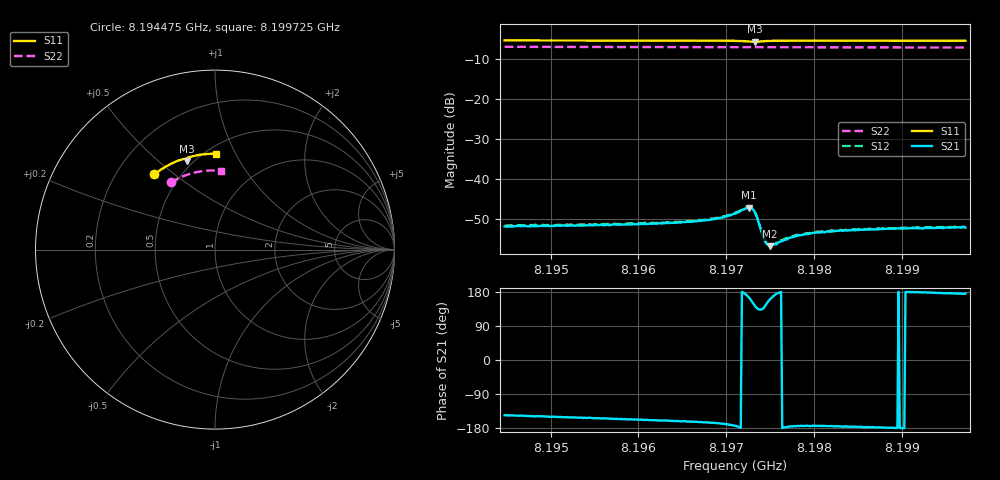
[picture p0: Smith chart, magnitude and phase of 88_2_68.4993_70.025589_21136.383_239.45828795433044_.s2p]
#  HZ  S  RI  R  50.00
! Rohde & Schwarz Vector Network Analyzer
! Rohde-Schwarz,ZNB20-2Port,1311601062101988,3.16
! Created: UTC 3/20/2024, 4:52:32 PM
! freq[Hz]  re:S11  im:S11  re:S21  im:S21  re:S12  im:S12  re:S22  im:S22
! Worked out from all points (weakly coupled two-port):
!   401 points, 8.194475 GHz to 8.199725 GHz, reference 50 ohm
!   highest |S21| = -47.05 dB at 8.197257 GHz (marker M1); lowest = -56.7 dB at 8.197494 GHz (marker M2)
!   lowest |S11| = -5.7 dB at 8.197323 GHz (marker M3), VSWR 3.15, Z = 23.1 + j31.2 ohm
!   |S11| at or under -10 dB: nowhere
!   |S22| runs from -7.1 to -7.0 dB; largest |S21 - S12| = 0.00024
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8.194475e9  -0.3379 0.4192  -0.00213 -0.00146  -0.00223 -0.00143  -0.2463 0.3744
8.1953544e9  -0.2868 0.4549  -0.00235 -0.00123  -0.00247 -0.00117  -0.2034 0.3979
8.1962337e9  -0.2314 0.4844  -0.00264 -0.000992  -0.0027 -0.000947  -0.1579 0.4166
8.1964568e9  -0.2167 0.4909  -0.00273 -0.000916  -0.00284 -0.000876  -0.146 0.4205
8.1967586e9  -0.1958 0.4988  -0.00295 -0.000828  -0.00305 -0.000712  -0.1297 0.4253
8.1969424e9  -0.1822 0.5031  -0.00324 -0.000681  -0.00331 -0.000589  -0.1198 0.4279
8.1970999e9  -0.169 0.5054  -0.00369 -0.000429  -0.00382 -0.00024  -0.1111 0.4299
8.1972049e9  -0.1586 0.5036  -0.0042 0.000277  -0.00429 0.00046  -0.1052 0.4311
8.1972574e9  -0.1545 0.4997  -0.00429 0.00115  -0.00433 0.00136  -0.1024 0.4316
8.1972967e9  -0.1545 0.4953  -0.00381 0.00194  -0.00381 0.00213  -0.1002 0.4318
8.197323e9  -0.1564 0.4937  -0.00319 0.0023  -0.00316 0.00248  -0.099 0.4321
8.1973492e9  -0.1593 0.494  -0.00248 0.00229  -0.00241 0.00246  -0.0974 0.4324
8.197428e9  -0.1611 0.5022  -0.00137 0.00126  -0.00136 0.00128  -0.0933 0.4334
8.1974674e9  -0.1586 0.5058  -0.00134 0.000765  -0.00132 0.000844  -0.0912 0.4339
8.1974936e9  -0.1567 0.5078  -0.00136 0.000542  -0.00137 0.000623  -0.0898 0.4341
8.197533e9  -0.1537 0.5101  -0.0015 0.00031  -0.00152 0.000353  -0.0874 0.4347
8.1976511e9  -0.144 0.5147  -0.00173 -5.12e-05  -0.00178 1.47e-05  -0.081 0.4357
8.1977823e9  -0.1339 0.518  -0.00193 -0.000202  -0.002 -0.000113  -0.0735 0.4368
8.1979792e9  -0.1194 0.5217  -0.00212 -0.000245  -0.00215 -0.000135  -0.0624 0.4382
8.198281e9  -0.0977 0.5261  -0.00227 -0.000201  -0.00231 -8.44e-05  -0.0457 0.4397
8.1988585e9  -0.0567 0.5316  -0.00242 -5.1e-05  -0.00243 4.51e-05  -0.013 0.4408
8.1997247e9  0.00483 0.5336  -0.00248 0.000201  -0.00252 0.000328  0.0361 0.438
